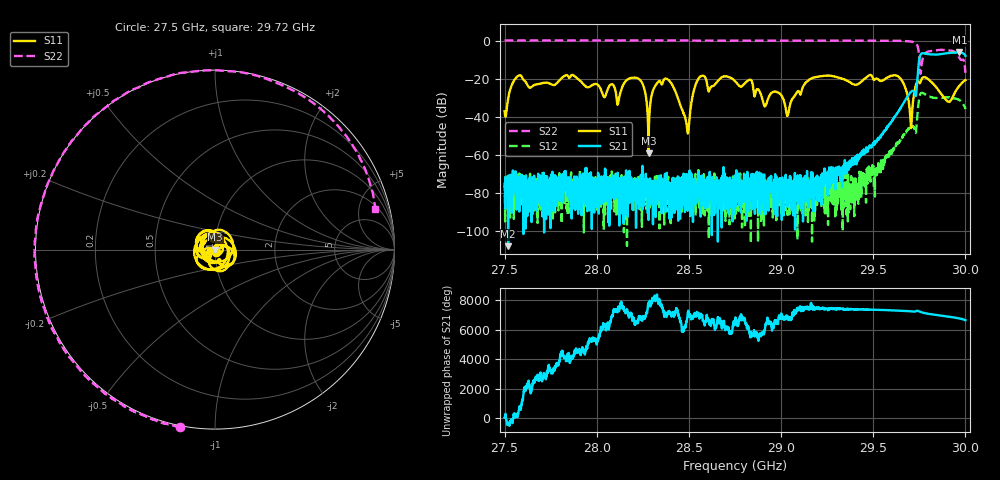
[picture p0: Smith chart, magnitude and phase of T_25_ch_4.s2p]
!Keysight Technologies,N5234A,MY55441357,A.10.47.05
!Date: Sunday, November 19, 2017 13:17:45
!Correction: S11(Full 2 Port(1,2))
!S21(Full 2 Port(1,2))
!S12(Full 2 Port(1,2))
!S22(Full 2 Port(1,2))
!S2P File: Measurements: S11, S21, S12, S22:
# Hz S  dB  R 50
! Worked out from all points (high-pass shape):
!   2501 points, 27.5 GHz to 30 GHz, reference 50 ohm
!   highest |S21| = -6.18 dB at 29.97 GHz (marker M1); lowest = -108.2 dB at 27.52 GHz (marker M2)
!   |S21| within 3 dB of the highest: 29.75 GHz to end of sweep
!   lowest |S11| = -59.3 dB at 28.28 GHz (marker M3), VSWR 1.00, Z = 50.1 - j0.0867 ohm
!   |S11| at or under -10 dB: start of sweep to end of sweep
!   |S22| runs from -17.5 to 0.1 dB; largest |S21 - S12| = 0.52
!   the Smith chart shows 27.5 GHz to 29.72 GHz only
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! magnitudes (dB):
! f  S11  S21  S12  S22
! 27.5 GHz  -37.2  -76.9  -74.7  0.1
! 27.52 GHz  -30.6  -108.2  -90.0  0.1
! 27.58 GHz  -18.3  -88.8  -76.9  0.1
! 27.92 GHz  -21.8  -91.9  -73.1  0.1
! 28.12 GHz  -33.0  -74.7  -75.3  0.1
! 28.22 GHz  -19.8  -76.5  -73.9  0.1
! 28.28 GHz  -59.3  -94.4  -73.5  0.1
! 28.33 GHz  -21.6  -73.6  -74.4  0.1
! 28.4 GHz  -22.3  -81.8  -82.7  0.1
! 28.49 GHz  -47.4  -70.5  -86.0  0.1
! 28.56 GHz  -19.0  -75.4  -73.6  0.0
! 28.75 GHz  -21.3  -77.3  -77.7  0.0
! 29.04 GHz  -39.6  -87.6  -91.8  0.0
! 29.17 GHz  -19.8  -73.7  -78.7  0.0
! 29.41 GHz  -23.1  -62.1  -74.6  0.0
! 29.58 GHz  -19.0  -44.8  -60.0  0.0
! 29.66 GHz  -21.1  -34.3  -51.0  -0.2
! 29.7 GHz  -44.5  -27.0  -45.4  -0.5
! 29.76 GHz  -20.0  -6.7  -27.5  -11.5
! 29.91 GHz  -32.1  -6.5  -29.8  -5.1
! 29.97 GHz  -23.7  -6.2  -31.4  -9.2
! 30 GHz  -20.8  -8.0  -36.0  -16.9
